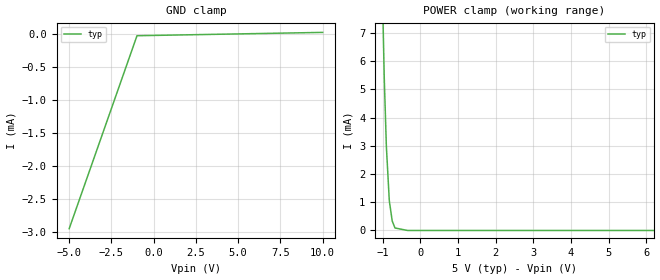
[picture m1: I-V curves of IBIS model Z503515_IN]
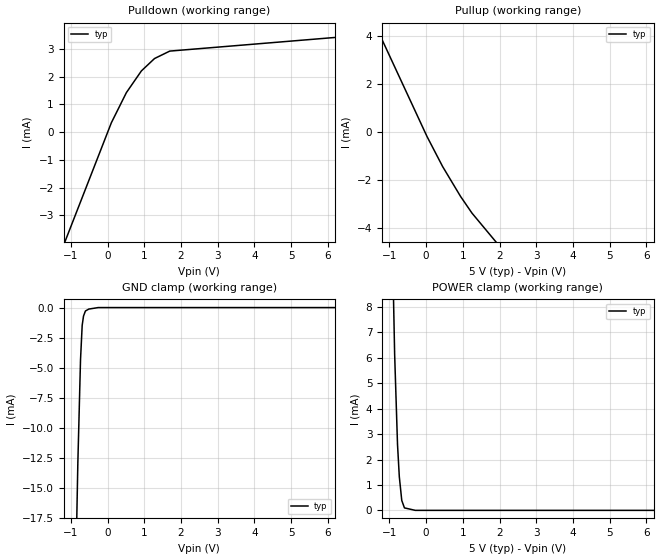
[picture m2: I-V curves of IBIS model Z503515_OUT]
| YOU ARE ONLY AUTHORIZED TO USE THIS SOFTWARE
| ACCORDING TO LICENSOR'S LICENSE RESTRICTIONS.
[IBIS Ver] 3.1
[File Name] mc14029bcl.ibs
[File Rev] 2.0
[Source] Measured and created by ICX Technology
[Date] Friday 7/14/00 9:07:52 AM
[Copyright]
| (C) COPYRIGHT 1993-2000
| MENTOR GRAPHICS CORPORATION
| ICX STANDARD LIBRARY, ICX PROJECT MODELING,
| ICX CUSTOM MODELING, ICX VENDOR MODEL
| ALL RIGHTS RESERVED.
| THE FOLLOWING ARE TRADEMARKS OR SERVICE MARKS OF
| MENTOR GRAPHICS CORPORATION:ICX (R), ICX STANDARD
| LIBRARY(R), ICX PROJECT MODELING(R), ICX CUSTOM
| MODELING(R), qualityIBIS(TM), MODELVIEWER(TM),
| AND MODELEDITOR(TM)
| ALL COPIES OF SOFTWARE, INCLUDING BUT NOT LIMITED TO
| ANY MODIFICATIONS, ENHANCEMENTS OR DERIVATIVE WORKS,
| MUST CONTAIN ALL MENTOR GRAPHICS CORPORATION'S
| NOTICES AND LEGENDS, INCLUDING THOSE EMBEDDED IN
| SOFTWARE AND THOSE AFFIXED TO SOFTWARE MEDIUM
| AND CONTAINER, AS RECEIVED FROM MENTOR GRAPHICS
| CORPORATION.
|  ZAP Model Builder 2.7
[Component] MC14029BCL
[Manufacturer] OnSemiconductor
[Package]
| variable   typ   min   max
R_pkg  .212ohms NA NA
L_pkg  4.758nH NA NA
C_pkg  1.944pF NA NA
[Pin] signal_name  model_name  R_pin  L_pin C_pin
1 PE1 Z503515_IN .224 7.258n 2.683p
2 Q3 Z503515_OUT .216 5.258n 2.19p
3 P3 Z503515_IN .208 3.758n 1.697p
4 P0 Z503515_IN .2 2.758n 1.204p
5 _CIN Z503515_IN .2 2.758n 1.204p
6 Q0 Z503515_OUT .208 3.758n 1.697p
7 _COUT Z503515_IN .216 5.258n 2.19p
8 VSS GND .224 7.258n 2.683p
9 B/D Z503515_IN .224 7.258n 2.683p
10 U/D Z503515_IN .216 5.258n 2.19p
11 Q1 Z503515_OUT .208 3.758n 1.697p
12 P1 Z503515_IN .2 2.758n 1.204p
13 P2 Z503515_IN .2 2.758n 1.204p
14 Q2 Z503515_OUT .208 3.758n 1.697p
15 CLK Z503515_IN .216 5.258n 2.19p
16 VDD POWER .224 7.258n 2.683p
| Models and submodels in the file (2): Z503515_IN (Input), Z503515_OUT (Output)
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| (C) COPYRIGHT 1993-2000
| MENTOR GRAPHICS CORPORATION
| ICX STANDARD LIBRARY, ICX PROJECT MODELING,
| ICX CUSTOM MODELING, ICX VENDOR MODEL
| ALL RIGHTS RESERVED.
| THE FOLLOWING ARE TRADEMARKS OR SERVICE MARKS OF
| MENTOR GRAPHICS CORPORATION:ICX (R), ICX STANDARD
| LIBRARY(R), ICX PROJECT MODELING(R), ICX CUSTOM
| MODELING(R), qualityIBIS(TM), MODELVIEWER(TM),
| AND MODELEDITOR(TM)
| ALL COPIES OF SOFTWARE, INCLUDING BUT NOT LIMITED TO
| ANY MODIFICATIONS, ENHANCEMENTS OR DERIVATIVE WORKS,
| MUST CONTAIN ALL MENTOR GRAPHICS CORPORATION'S
| NOTICES AND LEGENDS, INCLUDING THOSE EMBEDDED IN
| SOFTWARE AND THOSE AFFIXED TO SOFTWARE MEDIUM
| AND CONTAINER, AS RECEIVED FROM MENTOR GRAPHICS
| CORPORATION.
| Model Application Version 1.89 2/18/99.
[Model] Z503515_IN
Model_type Input
Vinl = 1.500V
Vinh = 3.500V
C_comp 4.000pF NA NA
| variable typ   min   max
[Voltage Range] 5.000V NA NA
[GND Clamp Reference] 0.000V NA NA
[POWER Clamp Reference] 5.000V NA NA
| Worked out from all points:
|   POWER clamp passes 1 mA (typ) near -0.81 V on its own axis
[GND Clamp]
-5V       -2.95mA    NA         NA
-986.5mV  -25.86uA   NA         NA
10V       24.52uA    NA         NA
[POWER Clamp]
-5V       434.8mA    NA         NA
-1.231V   27.26mA    NA         NA
-1.039V   10.7mA     NA         NA
-955mV    5.452mA    NA         NA
-898mV    2.979mA    NA         NA
-820mV    1.052mA    NA         NA
-743mV    338.1uA    NA         NA
-669mV    88.1uA     NA         NA
-334.5mV  0A         NA         NA
10V       0A         NA         NA
| (C) COPYRIGHT 1993-2000
| MENTOR GRAPHICS CORPORATION
| ICX STANDARD LIBRARY, ICX PROJECT MODELING,
| ICX CUSTOM MODELING, ICX VENDOR MODEL
| ALL RIGHTS RESERVED.
| THE FOLLOWING ARE TRADEMARKS OR SERVICE MARKS OF
| MENTOR GRAPHICS CORPORATION:ICX (R), ICX STANDARD
| LIBRARY(R), ICX PROJECT MODELING(R), ICX CUSTOM
| MODELING(R), qualityIBIS(TM), MODELVIEWER(TM),
| AND MODELEDITOR(TM)
| ALL COPIES OF SOFTWARE, INCLUDING BUT NOT LIMITED TO
| ANY MODIFICATIONS, ENHANCEMENTS OR DERIVATIVE WORKS,
| MUST CONTAIN ALL MENTOR GRAPHICS CORPORATION'S
| NOTICES AND LEGENDS, INCLUDING THOSE EMBEDDED IN
| SOFTWARE AND THOSE AFFIXED TO SOFTWARE MEDIUM
| AND CONTAINER, AS RECEIVED FROM MENTOR GRAPHICS
| CORPORATION.
| Model Application Version 1.89 2/18/99.
[Model] Z503515_OUT
Model_type Output
Vref=0.000V
Rref=500.0Mohms
Cref=50.00pF
Vmeas=2.500V
C_comp 8.000pF NA NA
| variable typ   min   max
[Voltage Range] 5.000V NA NA
[POWER Clamp Reference] 5.000V NA NA
[Pullup Reference] 5.000V NA NA
[Pulldown Reference] 0.000V NA NA
[GND Clamp Reference] 0.000V NA NA
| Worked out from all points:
|   slope of the pulldown table from 0 to 0.75 V, typ, clamps not added: 397 ohm
|   slope of the pullup table from 0 to 0.75 V, typ, clamps not added: 359 ohm
|   GND clamp passes 1 mA (typ) near -0.67 V on its own axis
|   POWER clamp passes 1 mA (typ) near -0.71 V on its own axis
[GND Clamp]
-5V       -680.7mA   NA         NA
-810.4mV  -12.97mA   NA         NA
-737.4mV  -4.357mA   NA         NA
-692mV    -1.482mA   NA         NA
-655.4mV  -704.6uA   NA         NA
-603.6mV  -284.5uA   NA         NA
-511.7mV  -125.4uA   NA         NA
-255.8mV  0A         NA         NA
10V       0A         NA         NA
[Pulldown]
-5V       -16.98mA   NA         NA
103.1mV   337.3uA    NA         NA
512.6mV   1.424mA    NA         NA
921.9mV   2.207mA    NA         NA
1.279V    2.652mA    NA         NA
1.694V    2.92mA     NA         NA
10V       3.827mA    NA         NA
[Pullup]
-5V       16.32mA    NA         NA
24mV      -184.9uA   NA         NA
450mV     -1.434mA   NA         NA
937mV     -2.671mA   NA         NA
1.248V    -3.364mA   NA         NA
10V       -19.39mA   NA         NA
[POWER Clamp]
-5V       301.3mA    NA         NA
-858mV    6.135mA    NA         NA
-780mV    2.599mA    NA         NA
-731mV    1.324mA    NA         NA
-664mV    389.3uA    NA         NA
-591mV    97.13uA    NA         NA
-295.5mV  0A         NA         NA
10V       0A         NA         NA
[Ramp]
| variable typ min max
dV/dt_r 2.649/21.46n NA NA
dV/dt_f 2.649/21.61n NA NA
R_load = 2.500kOhms
